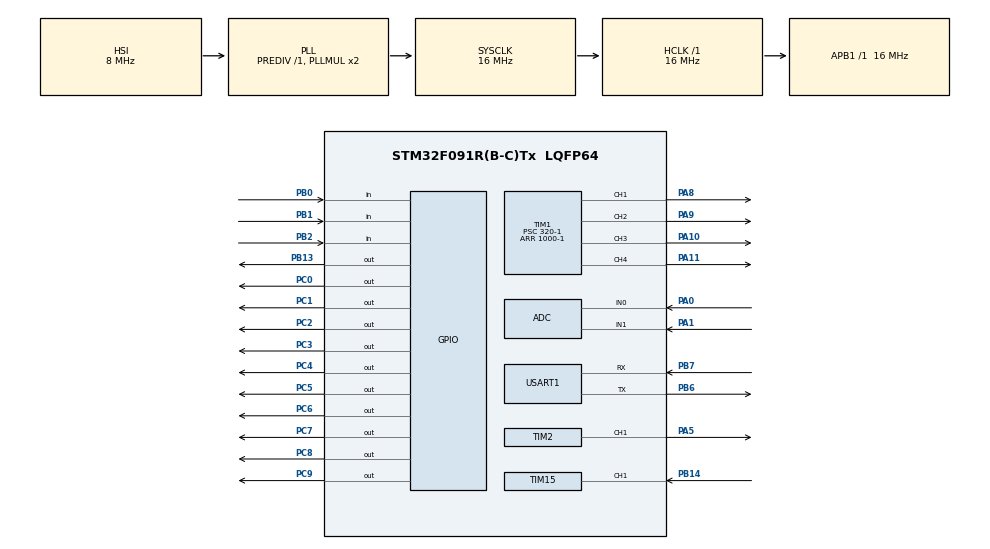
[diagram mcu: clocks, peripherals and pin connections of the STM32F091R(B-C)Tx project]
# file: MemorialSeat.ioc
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ADC.DiscontinuousConvMode=ENABLE
ADC.EOCSelection=ADC_EOC_SEQ_CONV
ADC.SamplingTime=ADC_SAMPLETIME_28CYCLES_5
ADC.ScanConvMode=ADC_SCAN_DIRECTION_FORWARD
Mcu.Family=STM32F0
Mcu.Name=STM32F091R(B-C)Tx
Mcu.Package=LQFP64
NVIC.TIM15_IRQn=true\:0\:0\:false\:false\:true\:true\:true\:true
NVIC.TIM3_IRQn=true\:0\:0\:false\:false\:true\:true\:true\:true
NVIC.USART1_IRQn=true\:0\:0\:false\:false\:true\:true\:true\:true
PA0.Mode=IN0
PA0.Signal=ADC_IN0
PA1.Mode=IN1
PA1.Signal=ADC_IN1
PA10.Signal=S_TIM1_CH3
PA11.Signal=S_TIM1_CH4
PA13.Mode=Serial_Wire
PA13.Signal=SYS_SWDIO
PA14.Mode=Serial_Wire
PA14.Signal=SYS_SWCLK
PA5.Signal=S_TIM2_CH1_ETR
PA8.Signal=S_TIM1_CH1
PA9.Signal=S_TIM1_CH2
PB0.GPIO_PuPd=GPIO_PULLUP
PB0.Signal=GPIO_Input
PB1.GPIO_PuPd=GPIO_PULLDOWN
PB1.Signal=GPIO_Input
PB13.Signal=GPIO_Output
PB14.Signal=S_TIM15_CH1
PB2.GPIO_PuPd=GPIO_PULLDOWN
PB2.Signal=GPIO_Input
PB6.Mode=Asynchronous
PB6.Signal=USART1_TX
PB7.Mode=Asynchronous
PB7.Signal=USART1_RX
PC0.Signal=GPIO_Output
PC1.Signal=GPIO_Output
PC2.Signal=GPIO_Output
PC3.Signal=GPIO_Output
PC4.Signal=GPIO_Output
PC5.Signal=GPIO_Output
PC6.Signal=GPIO_Output
PC7.Signal=GPIO_Output
PC8.Signal=GPIO_Output
PC9.Signal=GPIO_Output
ProjectManager.HeapSize=0x200
ProjectManager.StackSize=0x400
ProjectManager.TargetToolchain=STM32CubeIDE
RCC.AHBFreq_Value=16000000
RCC.APB1Freq_Value=16000000
RCC.APB1TimFreq_Value=16000000
RCC.HCLKFreq_Value=16000000
RCC.SYSCLKFreq_VALUE=16000000
RCC.SYSCLKSource=RCC_SYSCLKSOURCE_PLLCLK
SH.S_TIM15_CH1.0=TIM15_CH1,Input_Capture1_from_TI1
SH.S_TIM1_CH1.0=TIM1_CH1,PWM Generation1 CH1
SH.S_TIM1_CH2.0=TIM1_CH2,PWM Generation2 CH2
SH.S_TIM1_CH3.0=TIM1_CH3,PWM Generation3 CH3
SH.S_TIM1_CH4.0=TIM1_CH4,PWM Generation4 CH4
SH.S_TIM2_CH1_ETR.0=TIM2_CH1,PWM Generation1 CH1
TIM1.Channel-PWM\ Generation1\ CH1=TIM_CHANNEL_1
TIM1.Channel-PWM\ Generation2\ CH2=TIM_CHANNEL_2
TIM1.Channel-PWM\ Generation3\ CH3=TIM_CHANNEL_3
TIM1.Channel-PWM\ Generation4\ CH4=TIM_CHANNEL_4
TIM1.Period=1000-1
TIM1.Prescaler=320-1
TIM1.Pulse-PWM\ Generation1\ CH1=500-1
TIM15.Channel-Input_Capture1_from_TI1=TIM_CHANNEL_1
TIM15.Prescaler=16-1
TIM2.Channel-PWM\ Generation1\ CH1=TIM_CHANNEL_1
TIM2.Period=1000-1
TIM2.Prescaler=320-1
TIM3.Period=1000-1
TIM3.Prescaler=16-1
USART1.VirtualMode-Asynchronous=VM_ASYNC
VP_TIM15_VS_ClockSourceINT.Mode=Internal
VP_TIM1_VS_ClockSourceINT.Mode=Internal
VP_TIM2_VS_ClockSourceINT.Mode=Internal
VP_TIM3_VS_ClockSourceINT.Mode=Internal
board=custom

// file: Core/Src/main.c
/* USER CODE BEGIN Header */
/**
  ******************************************************************************
  * @file           : main.c
  * @brief          : Main program body
  ******************************************************************************
  * @attention
  *
  * Copyright (c) 2024 STMicroelectronics.
  * All rights reserved.
  *
  * This software is licensed under terms that can be found in the LICENSE file
  * in the root directory of this software component.
  * If no LICENSE file comes with this software, it is provided AS-IS.
  *
  ******************************************************************************
  */
/* USER CODE END Header */
#include "main.h"
#include "adc.h"
#include "tim.h"
#include "usart.h"
#include "gpio.h"

/* USER CODE BEGIN Includes */
#include "protocol.h"
#include "servo.h"
#include "sonic.h"
#include "fnd.h"
#include "scheduling.h"

#include <stdio.h>
#include <string.h>

//#define AIRDIR			90
//#define AIRSPEED		90
//#define SEATUPDOWN		180
//#define SEATRIGHTLEFT	90
//#define SEATROTATE		10

/* USER CODE END Includes */

void SystemClock_Config(void);

int main(void)
{

  /* MCU Configuration--------------------------------------------------------*/

  /* Reset of all peripherals, Initializes the Flash interface and the Systick. */
  HAL_Init();

  /* Configure the system clock */
  SystemClock_Config();

  /* Initialize all configured peripherals */
  MX_GPIO_Init();
  MX_TIM1_Init();
  MX_TIM2_Init();
  MX_TIM15_Init();
  MX_USART1_UART_Init();
  MX_TIM3_Init();
  MX_ADC_Init();
  /* USER CODE BEGIN 2 */

  //protocol
  Uart1_Init();

  //servo
  Servo_Init(&htim1, TIM_CHANNEL_1);
  Servo_Init(&htim1, TIM_CHANNEL_2);
  Servo_Init(&htim1, TIM_CHANNEL_3);
  Servo_Init(&htim1, TIM_CHANNEL_4);
  Servo_Init(&htim2, TIM_CHANNEL_1);

  //sonic
  Sonic_Init(&htim15, TIM_CHANNEL_1);

  //task
  Scheduling_Init(&htim3);

  //defalt setting
  DataInfo.Air_Dir_Data 		= AIRDIR;
  DataInfo.Air_Speed_Data		= AIRSPEED;	//
  DataInfo.Seat_UpDown_Data		= SEATUPDOWN;	//감소할수록 위로
  DataInfo.Seat_RightLeft_Data	= SEATRIGHTLEFT;	//증가할수록 뒤로
  DataInfo.Seat_Rotate_Data 	= SEATROTATE;

  FlagInfo.Key_Off_Flag			= 1; // 초기 키 오프 상태

  /* USER CODE END 2 */

  /* Infinite loop */
  while (1)
  {

    /* USER CODE BEGIN 3 */

	  if(FlagInfo.Run_Flag == 1)
	  {
		  uint32_t percent = 0;
		  percent = ((DataInfo.Air_Speed_Data - 10)*100)/80;
		  ShowFND(percent);
	  }

	  TaskScheduling();
  }
  /* USER CODE END 3 */
}

void SystemClock_Config(void)
{
  RCC_OscInitTypeDef RCC_OscInitStruct = {0};
  RCC_ClkInitTypeDef RCC_ClkInitStruct = {0};
  RCC_PeriphCLKInitTypeDef PeriphClkInit = {0};

  /** Initializes the RCC Oscillators according to the specified parameters
  * in the RCC_OscInitTypeDef structure.
  */
  RCC_OscInitStruct.OscillatorType = RCC_OSCILLATORTYPE_HSI|RCC_OSCILLATORTYPE_HSI14;
  RCC_OscInitStruct.HSIState = RCC_HSI_ON;
  RCC_OscInitStruct.HSI14State = RCC_HSI14_ON;
  RCC_OscInitStruct.HSICalibrationValue = RCC_HSICALIBRATION_DEFAULT;
  RCC_OscInitStruct.HSI14CalibrationValue = 16;
  RCC_OscInitStruct.PLL.PLLState = RCC_PLL_ON;
  RCC_OscInitStruct.PLL.PLLSource = RCC_PLLSOURCE_HSI;
  RCC_OscInitStruct.PLL.PLLMUL = RCC_PLL_MUL2;
  RCC_OscInitStruct.PLL.PREDIV = RCC_PREDIV_DIV1;
  if (HAL_RCC_OscConfig(&RCC_OscInitStruct) != HAL_OK)
  {
    Error_Handler();
  }

  /** Initializes the CPU, AHB and APB buses clocks
  */
  RCC_ClkInitStruct.ClockType = RCC_CLOCKTYPE_HCLK|RCC_CLOCKTYPE_SYSCLK
                              |RCC_CLOCKTYPE_PCLK1;
  RCC_ClkInitStruct.SYSCLKSource = RCC_SYSCLKSOURCE_PLLCLK;
  RCC_ClkInitStruct.AHBCLKDivider = RCC_SYSCLK_DIV1;
  RCC_ClkInitStruct.APB1CLKDivider = RCC_HCLK_DIV1;

  if (HAL_RCC_ClockConfig(&RCC_ClkInitStruct, FLASH_LATENCY_0) != HAL_OK)
  {
    Error_Handler();
  }
  PeriphClkInit.PeriphClockSelection = RCC_PERIPHCLK_USART1;
  PeriphClkInit.Usart1ClockSelection = RCC_USART1CLKSOURCE_PCLK1;
  if (HAL_RCCEx_PeriphCLKConfig(&PeriphClkInit) != HAL_OK)
  {
    Error_Handler();
  }
}

void Error_Handler(void)
{
  __disable_irq();
  while (1)
  {
  }
}
